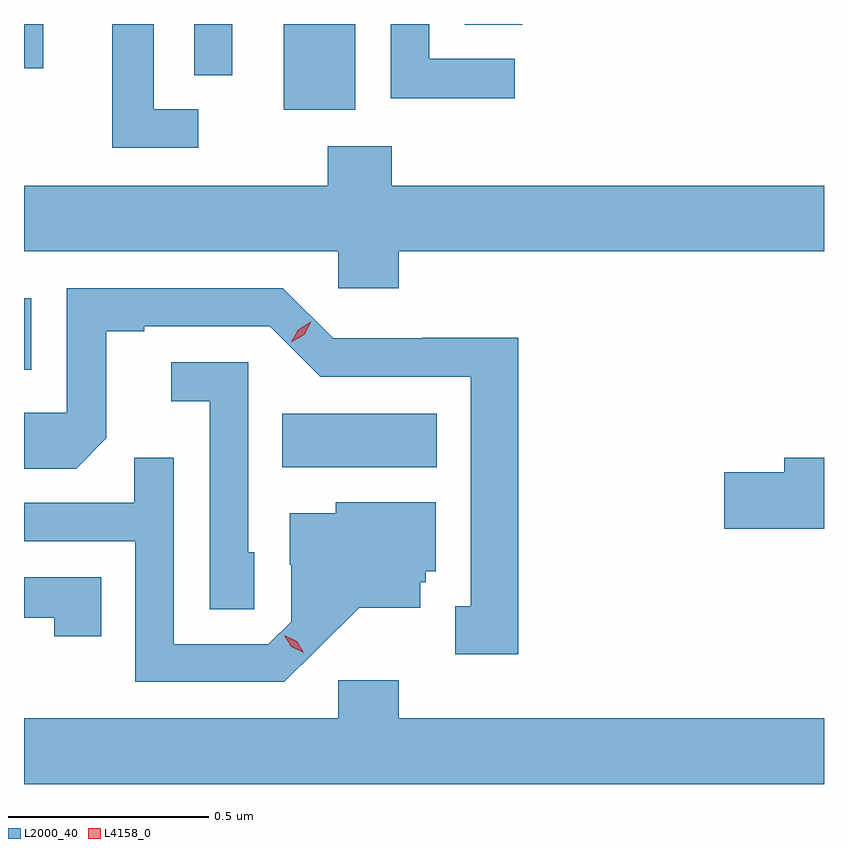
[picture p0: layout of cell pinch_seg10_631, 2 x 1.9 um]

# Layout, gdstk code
import gdstk
lib = gdstk.Library(unit=1e-6, precision=1e-09)
def R(c, l, rs):  # rectangles x0, y0, x1, y1
    for r in rs: c.add(gdstk.rectangle(r[:2], r[2:], *l))
def P(c, l, *ps):  # polygons
    for p in ps: c.add(gdstk.Polygon(p, *l))
L2000_40 = (2000, 40)
L4158_0 = (4158, 0)

pinch_seg10_631 = lib.new_cell('pinch_seg10_631')
R(pinch_seg10_631, L2000_40, [(290.548,1285.124,290.935,1285.258), (289.903,1285.368,289.921,1285.546), (290.552,1286.018,290.731,1286.232), (290.328,1286.104,290.424,1286.232), (289.903,1286.121,289.951,1286.232), (291.005,1286.23,291.149,1286.232)])
P(pinch_seg10_631, L2000_40, [(290.338,1286.019),(290.227,1286.019),(290.227,1286.232),(290.123,1286.232),(290.123,1285.923),(290.338,1285.923)],
  [(291.13,1286.145),(290.916,1286.145),(290.916,1286.232),(290.82,1286.232),(290.82,1286.047),(291.13,1286.047)],
  [(290.84,1285.664),(291.903,1285.664),(291.903,1285.828),(290.822,1285.828),(290.822,1285.927),(290.662,1285.927),(290.662,1285.828),(289.903,1285.828),(289.903,1285.664),(290.688,1285.664),(290.688,1285.571),(290.84,1285.571)],
  [(291.139,1285.448),(290.898,1285.448),(290.898,1285.446),(290.676,1285.446),(290.55,1285.572),(290.01,1285.572),(290.01,1285.26),(289.903,1285.26),(289.903,1285.12),(290.033,1285.12),(290.109,1285.196),(290.109,1285.464),(290.203,1285.464),(290.203,1285.476),(290.517,1285.476),(290.643,1285.35),(291.02,1285.35),(291.02,1284.777),(290.981,1284.777),(290.981,1284.657),(291.139,1284.657)],
  [(290.478,1284.912),(290.463,1284.912),(290.463,1285.386),(290.271,1285.386),(290.271,1285.289),(290.367,1285.289),(290.367,1284.769),(290.478,1284.769)],
  [(291.903,1285.148),(291.803,1285.148),(291.803,1285.112),(291.654,1285.112),(291.654,1284.97),(291.903,1284.97)],
  [(290.638,1284.671),(290.741,1284.773),(290.893,1284.773),(290.893,1284.837),(290.907,1284.837),(290.907,1284.864),(290.932,1284.864),(290.932,1285.036),(290.682,1285.036),(290.682,1285.009),(290.567,1285.009),(290.567,1284.88),(290.571,1284.88),(290.571,1284.738),(290.514,1284.681),(290.277,1284.681),(290.277,1285.148),(290.179,1285.148),(290.179,1285.035),(289.903,1285.035),(289.903,1284.939),(290.181,1284.939),(290.181,1284.588),(290.554,1284.588)],
  [(290.096,1284.849),(289.903,1284.849),(289.903,1284.748),(289.978,1284.748),(289.978,1284.702),(290.096,1284.702)],
  [(291.903,1284.496),(290.84,1284.496),(290.84,1284.592),(290.688,1284.592),(290.688,1284.496),(289.903,1284.496),(289.903,1284.332),(291.903,1284.332)])
P(pinch_seg10_631, L4158_0, [(290.571,1285.436),(290.571,1285.436),(290.588,1285.468),(290.62,1285.488),(290.62,1285.488),(290.62,1285.487),(290.603,1285.455),(290.571,1285.436)],
  [(290.602,1284.66),(290.571,1284.675),(290.554,1284.704),(290.554,1284.704),(290.554,1284.704),(290.585,1284.689),(290.602,1284.66),(290.602,1284.66)])

lib.write_gds('pinch_seg10_631.gds')
